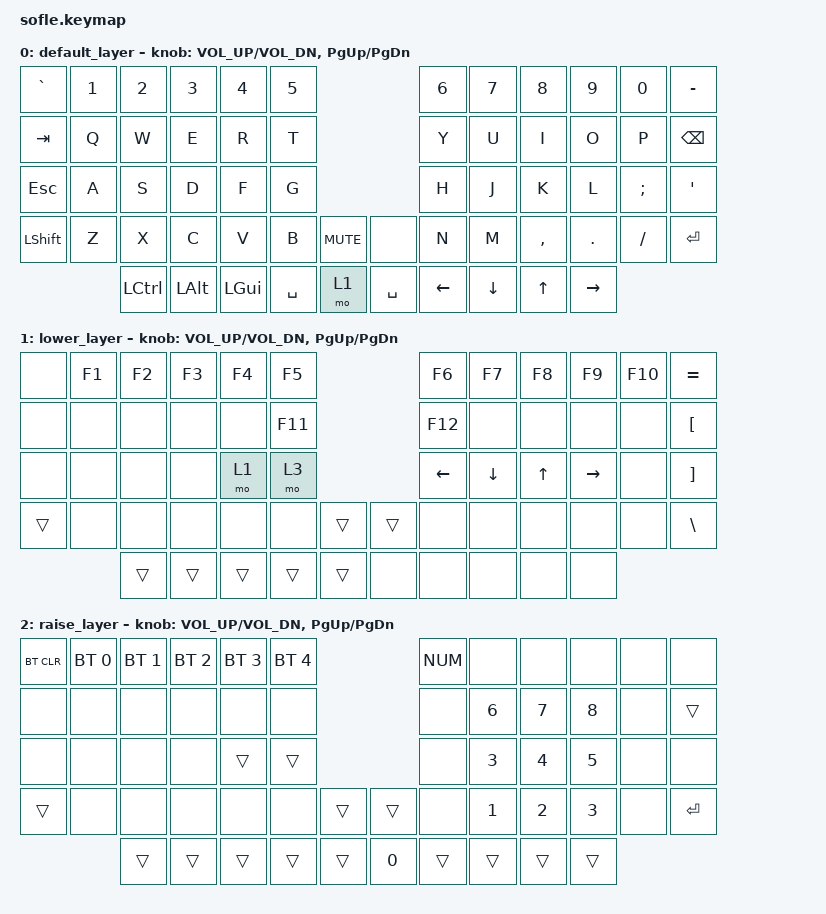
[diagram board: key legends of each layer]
/*
 * Copyright (c) 2020 The ZMK Contributors
 *
 * SPDX-License-Identifier: MIT
 */

#include <behaviors.dtsi>
#include <dt-bindings/zmk/keys.h>
#include <dt-bindings/zmk/bt.h>

/ {
    combos {
        compatible = "zmk,combos";
        combo_hyper {
            timeout-ms = <50>;
            key-positions = <54>;
            bindings = <&kp LSHFT &kp LCTRL &kp LALT &kp LGUI>;
        };
    };
};

/ {
    keymap {
        compatible = "zmk,keymap";

        default_layer {
// ------------------------------------------------------------------------------------------------------------
// |  `    |  1  |  2  |  3   |  4   |  5   |                   |  6   |  7    |  8    |  9   |   0   |   -   |
// |  TAB  |  Q  |  W  |  E   |  R   |  T   |                   |  Y   |  U    |  I    |  O   |   P   | BKSPC |
// |  ESC  |  A  |  S  |  D   |  F   |  G   |                   |  H   |  J    |  K    |  L   |   ;   |   '   |
// | SHIFT |  Z  |  X  |  C   |  V   |  B   |  MUTE  |  |       |  N   |  M    |  ,    |  .   |   /   | ENTER |
//               | CTRL | ALT | LGUI | HYPER|  LOWER |  | SPACE | LEFT | DOWN  |  UP   |RIGHT |
            bindings = <
&kp GRAVE &kp N1 &kp N2   &kp N3   &kp N4    &kp N5                      &kp N6   &kp N7    &kp N8    &kp N9   &kp N0   &kp MINUS
&kp TAB   &kp Q  &kp W    &kp E    &kp R     &kp T                       &kp Y    &kp U     &kp I     &kp O    &kp P    &kp BSPC
&kp ESC   &kp A  &kp S    &kp D    &kp F     &kp G                       &kp H    &kp J     &kp K     &kp L    &kp SEMI &kp SQT
&kp LSHFT &kp Z  &kp X    &kp C    &kp V     &kp B  &kp C_MUTE &none     &kp N    &kp M     &kp COMMA &kp DOT  &kp FSLH &kp ENTER
                 &kp LCTRL &kp LALT &kp LGUI &kp SPACE  &mo 1  &kp SPACE &kp LEFT &kp DOWN  &kp UP    &kp RIGHT
            >;

            sensor-bindings = <&inc_dec_kp C_VOL_UP C_VOL_DN &inc_dec_kp PG_UP PG_DN>;
        };

        lower_layer {
// TODO: Some binds are waiting for shifted keycode support.
// ------------------------------------------------------------------------------------------------------------
// |       |  F1 |  F2 |  F3  |  F4  |  F5  |                   |  F6  |  F7   |  F8   |  F9  |  F10  |   =   |
// |       |     |     |      |      | F11  |                   |  F12 |       |       |      |       |   [   |
// |       |     |     |      |  mo2 | mo3  |                   | LEFT | DOWN  |  UP   |RIGHT |       |   ]   |
// | SHIFT |     |     |      |      |      |        |  |       |      |       |       |      |       |   \   |
//               | CTRL| ALT  | LGUI | HYPER|  LOWER |  |       |      |       |       |      |
            bindings = <
&none    &kp F1    &kp F2    &kp F3      &kp F4    &kp F5                     &kp F6    &kp F7      &kp F8   &kp F9     &kp F10  &kp EQUAL
&none    &none     &none     &none       &none     &kp F11                    &kp F12   &none       &none    &none      &none    &kp LBKT
&none    &none     &none     &none       &mo 1     &mo 3                      &kp LEFT  &kp DOWN    &kp UP   &kp RIGHT  &none    &kp RBKT
&trans   &none     &none     &none       &none     &none    &trans   &trans   &none     &none       &none    &none      &none    &kp BSLH
                   &trans    &trans      &trans    &trans   &trans   &none    &none     &none       &none    &none
            >;

            sensor-bindings = <&inc_dec_kp C_VOL_UP C_VOL_DN &inc_dec_kp PG_UP PG_DN>;
        };

        raise_layer {
// ------------------------------------------------------------------------------------------------------------
// |BTCLR| BT1  | BT2  |  BT3  |  BT4  |  BT5 |                | NUM  |      |       |      |       |       |
// |     |      |      |       |       |      |                |      |   6  |   7   |   8  |       |       |
// |     |      |      |       |  mo2  |  mo3 |                |      |   3  |   4   |   5  |       |       |
// |SHIFT|      |      |       |       |      |      |  |      |      |   1  |   2   |   3  |       |       |
//              | CRTL |  ALT  | LGUI  |HYPER | mo1  |  |   0  |      |      |       |      |
            bindings = <
&bt BT_CLR &bt BT_SEL 0 &bt BT_SEL 1 &bt BT_SEL 2 &bt BT_SEL 3 &bt BT_SEL 4               &kp NUM    &none     &none    &none     &none   &none
&none      &none        &none        &none        &none        &none                      &none      &kp N6    &kp N7   &kp N8    &none   &trans
&none      &none        &none        &none        &trans       &trans                     &none      &kp N3    &kp N4   &kp N5    &none   &none
&trans     &none        &none        &none        &none        &none     &trans   &trans  &none      &kp N1    &kp N2   &kp N3    &none   &kp ENTER
                        &trans       &trans       &trans       &trans    &trans   &kp N0  &trans     &trans    &trans   &trans
            >;

            sensor-bindings = <&inc_dec_kp C_VOL_UP C_VOL_DN &inc_dec_kp PG_UP PG_DN>;
        };
    };
};
